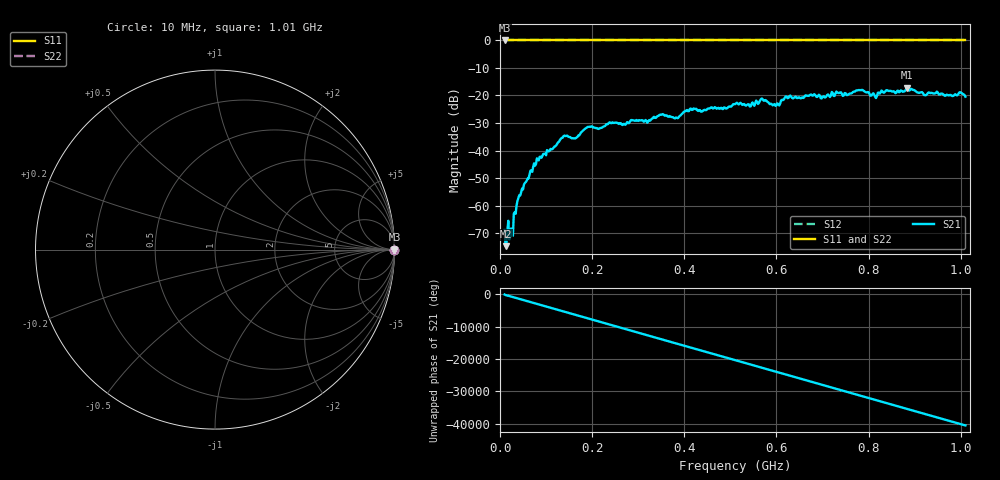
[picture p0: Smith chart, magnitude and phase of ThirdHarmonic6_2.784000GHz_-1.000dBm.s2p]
! 8/17/2025 7:09:38 AM
! C:\ANRITSUVNA\TEMP\TEMP.S2P
! CHANNEL.1
! TR.MEASUREMENT
! RAW.DATA
! RF.CORRECTION.OFF
! AVERAGING.OFF
! IF.BANDWIDTH: 5KHZ
! SWEEPTYPE:  FREQ.SWEEP(Linear)
! Reference Plane Port Info
! PORT:  PORT1  PORT2
! DISTANCE:  0  m  0  m
! TIME:  0  s  0  s
! PHASE.OFFSET:  0  deg.  0  deg.
! LOSS:  0  dB  0  dB
! REF.LOSS:  0  dB  0  dB
! REF.FREQ:  0  Hz  0  Hz
! Power Info
! POWER:  -20  dBm  -20  dBm
! EFF.POWER:  -20  dBm  -20  dBm
! SOURCE.ATTEN:  0  dB  0  dB
! TEST.ATTEN:  0  dB  0  dB
# GHZ S RI R 50.0
! FREQ.GHZ  S11RE  S11IM  S21RE  S21IM  S12RE  S12IM  S22RE  S22IM
!; PortSelection: Port_12
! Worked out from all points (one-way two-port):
!   501 points, 10 MHz to 1.01 GHz, reference 50 ohm
!   highest |S21| = -17.15 dB at 884 MHz (marker M1); lowest = -74.8 dB at 12 MHz (marker M2)
!   lowest |S11| = 0.0 dB at 10 MHz (marker M3)
!   |S11| at or under -10 dB: nowhere
!   |S22| runs from 0.0 to 0.0 dB; largest |S21 - S12| = 1.1
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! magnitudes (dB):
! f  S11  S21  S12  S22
! 10 MHz  0.0  -68.9  0.0  0.0
! 12 MHz  0.0  -74.8  0.0  0.0
! 24 MHz  0.0  -68.3  0.0  0.0
! 34 MHz  0.0  -63.0  0.0  0.0
! 42 MHz  0.0  -56.2  0.0  0.0
! 84 MHz  0.0  -43.6  0.0  0.0
! 136 MHz  0.0  -35.3  0.0  0.0
! 164 MHz  0.0  -35.6  0.0  0.0
! 178 MHz  0.0  -33.1  0.0  0.0
! 344 MHz  0.0  -27.4  0.0  0.0
! 382 MHz  0.0  -28.0  0.0  0.0
! 416 MHz  0.0  -25.2  0.0  0.0
! 510 MHz  0.0  -23.2  0.0  0.0
! 570 MHz  0.0  -21.3  0.0  0.0
! 602 MHz  0.0  -22.9  0.0  0.0
! 624 MHz  0.0  -21.0  0.0  0.0
! 678 MHz  0.0  -20.1  0.0  0.0
! 782 MHz  0.0  -18.0  0.0  0.0
! 814 MHz  0.0  -20.4  0.0  0.0
! 844 MHz  0.0  -18.4  0.0  0.0
! 884 MHz  0.0  -17.2  0.0  0.0
! 1.01 GHz  0.0  -20.4  0.0  0.0
